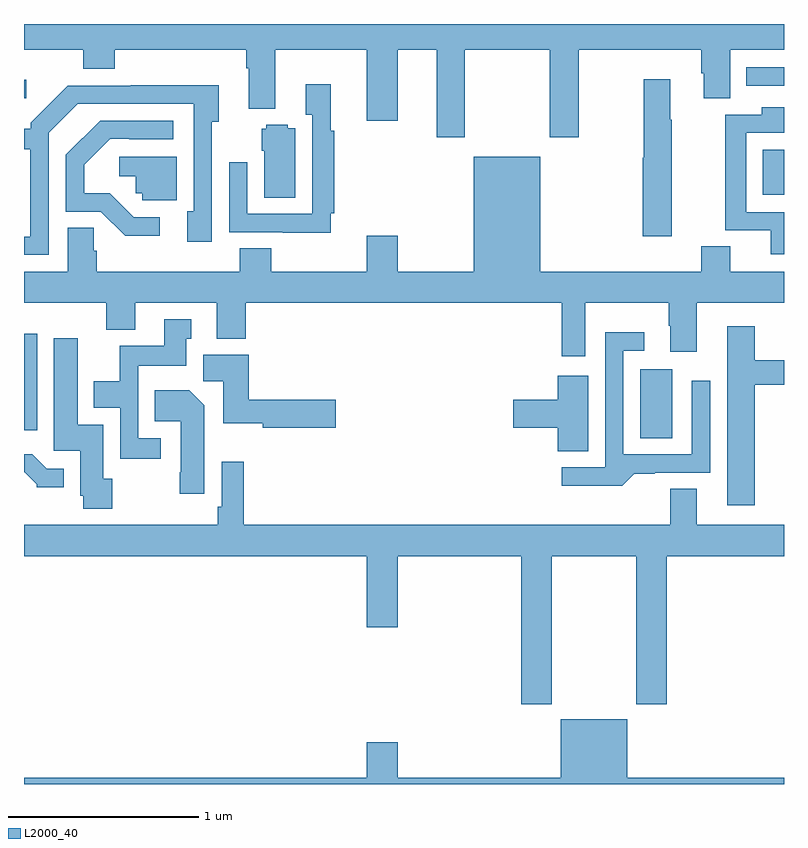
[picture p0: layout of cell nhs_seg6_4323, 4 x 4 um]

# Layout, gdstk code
import gdstk
lib = gdstk.Library(unit=1e-6, precision=1e-09)
def R(c, l, rs):  # rectangles x0, y0, x1, y1
    for r in rs: c.add(gdstk.rectangle(r[:2], r[2:], *l))
def P(c, l, *ps):  # polygons
    for p in ps: c.add(gdstk.Polygon(p, *l))
L2000_40 = (2000, 40)

nhs_seg6_4323 = lib.new_cell('nhs_seg6_4323')
R(nhs_seg6_4323, L2000_40, [(370.244,917.32,370.411,917.683), (367,917.361,367.069,917.869), (370.889,918.602,371,918.838), (367,919.109,367.012,919.207), (370.802,919.176,371,919.272)])
P(nhs_seg6_4323, L2000_40, [(369.321,919.364),(369.766,919.364),(369.766,918.903),(369.921,918.903),(369.921,919.364),(370.565,919.364),(370.565,919.242),(370.577,919.242),(370.577,919.108),(370.717,919.108),(370.717,919.364),(371,919.364),(371,919.5),(367,919.5),(367,919.364),(367.313,919.364),(367.313,919.265),(367.478,919.265),(367.478,919.364),(368.171,919.364),(368.171,919.268),(368.183,919.268),(368.183,919.055),(368.323,919.055),(368.323,919.364),(368.804,919.364),(368.804,918.99),(368.968,918.99),(368.968,919.364),(369.173,919.364),(369.173,918.903),(369.321,918.903)],
  [(370.41,918.997),(370.402,918.997),(370.402,919.21),(370.261,919.21),(370.261,918.797),(370.256,918.797),(370.256,918.384),(370.41,918.384)],
  [(368.615,918.505),(368.633,918.505),(368.633,918.938),(368.615,918.938),(368.615,919.183),(368.483,919.183),(368.483,919.022),(368.517,919.022),(368.517,918.501),(368.175,918.501),(368.175,918.772),(368.079,918.772),(368.079,918.405),(368.363,918.405),(368.363,918.401),(368.615,918.401)],
  [(367.131,918.927),(367.284,919.08),(367.893,919.08),(367.893,918.514),(367.859,918.514),(367.859,918.354),(367.989,918.354),(367.989,918.986),(368.026,918.986),(368.026,919.178),(367.561,919.178),(367.561,919.176),(367.23,919.176),(367.035,918.981),(367.035,918.949),(367,918.949),(367,918.84),(367.034,918.84),(367.034,918.381),(367,918.381),(367,918.285),(367.131,918.285)],
  [(371,918.51),(370.8,918.51),(370.8,918.927),(371,918.927),(371,919.063),(370.882,919.063),(370.882,919.023),(370.692,919.023),(370.692,918.414),(370.931,918.414),(370.931,918.288),(371,918.288)],
  [(367.714,918.483),(367.578,918.483),(367.451,918.61),(367.318,918.61),(367.318,918.76),(367.455,918.897),(367.555,918.897),(367.555,918.894),(367.786,918.894),(367.786,918.99),(367.4,918.99),(367.221,918.811),(367.221,918.513),(367.404,918.513),(367.532,918.386),(367.714,918.386)],
  [(368.428,918.952),(368.388,918.952),(368.388,918.97),(368.274,918.97),(368.274,918.948),(368.252,918.948),(368.252,918.834),(368.264,918.834),(368.264,918.586),(368.428,918.586)],
  [(369.83,917.751),(369.955,917.751),(369.955,918.032),(370.393,918.032),(370.393,917.912),(370.4,917.912),(370.4,917.775),(370.54,917.775),(370.54,918.032),(371,918.032),(371,918.196),(370.717,918.196),(370.717,918.329),(370.565,918.329),(370.565,918.196),(369.718,918.196),(369.718,918.802),(369.368,918.802),(369.368,918.196),(368.968,918.196),(368.968,918.385),(368.804,918.385),(368.804,918.196),(368.3,918.196),(368.3,918.32),(368.135,918.32),(368.135,918.196),(367.382,918.196),(367.382,918.306),(367.367,918.306),(367.367,918.428),(367.229,918.428),(367.229,918.196),(367,918.196),(367,918.032),(367.433,918.032),(367.433,917.891),(367.585,917.891),(367.585,918.032),(368.015,918.032),(368.015,917.843),(368.168,917.843),(368.168,918.032),(369.83,918.032)],
  [(367.804,918.801),(367.5,918.801),(367.5,918.698),(367.587,918.698),(367.587,918.609),(367.623,918.609),(367.623,918.573),(367.804,918.573)],
  [(367.72,917.319),(367.602,917.319),(367.602,917.702),(367.855,917.702),(367.855,917.844),(367.879,917.844),(367.879,917.947),(367.739,917.947),(367.739,917.806),(367.504,917.806),(367.504,917.62),(367.367,917.62),(367.367,917.48),(367.506,917.48),(367.506,917.211),(367.72,917.211)],
  [(370.847,917.602),(371,917.602),(371,917.731),(370.847,917.731),(370.847,917.908),(370.7,917.908),(370.7,916.968),(370.847,916.968)],
  [(370.213,917.134),(370.321,917.134),(370.321,917.139),(370.611,917.139),(370.611,917.623),(370.515,917.623),(370.515,917.235),(370.155,917.235),(370.155,917.781),(370.264,917.781),(370.264,917.878),(370.059,917.878),(370.059,917.166),(369.831,917.166),(369.831,917.069),(370.148,917.069)],
  [(367.464,917.106),(367.417,917.106),(367.417,917.392),(367.282,917.392),(367.282,917.845),(367.157,917.845),(367.157,917.253),(367.295,917.253),(367.295,917.016),(367.312,917.016),(367.312,916.95),(367.464,916.95)],
  [(368.641,917.522),(368.183,917.522),(368.183,917.758),(367.943,917.758),(367.943,917.62),(368.048,917.62),(368.048,917.399),(368.256,917.399),(368.256,917.375),(368.641,917.375)],
  [(369.97,917.65),(369.809,917.65),(369.809,917.522),(369.576,917.522),(369.576,917.375),(369.809,917.375),(369.809,917.251),(369.97,917.251)],
  [(367.948,917.494),(367.87,917.572),(367.687,917.572),(367.687,917.408),(367.826,917.408),(367.826,917.14),(367.819,917.14),(367.819,917.028),(367.948,917.028)],
  [(367.21,917.16),(367.119,917.16),(367.043,917.236),(367,917.236),(367,917.142),(367.004,917.142),(367.068,917.078),(367.068,917.063),(367.21,917.063)],
  [(369.777,916.7),(370.222,916.7),(370.222,915.921),(370.382,915.921),(370.382,916.7),(371,916.7),(371,916.864),(370.54,916.864),(370.54,917.054),(370.4,917.054),(370.4,916.864),(368.156,916.864),(368.156,917.197),(368.04,917.197),(368.04,916.96),(368.02,916.96),(368.02,916.864),(367,916.864),(367,916.7),(368.804,916.7),(368.804,916.326),(368.968,916.326),(368.968,916.7),(369.617,916.7),(369.617,915.921),(369.777,915.921)],
  [(371,915.532),(370.174,915.532),(370.174,915.841),(369.824,915.841),(369.824,915.532),(368.968,915.532),(368.968,915.721),(368.804,915.721),(368.804,915.532),(367,915.532),(367,915.5),(371,915.5)])

lib.write_gds('nhs_seg6_4323.gds')
